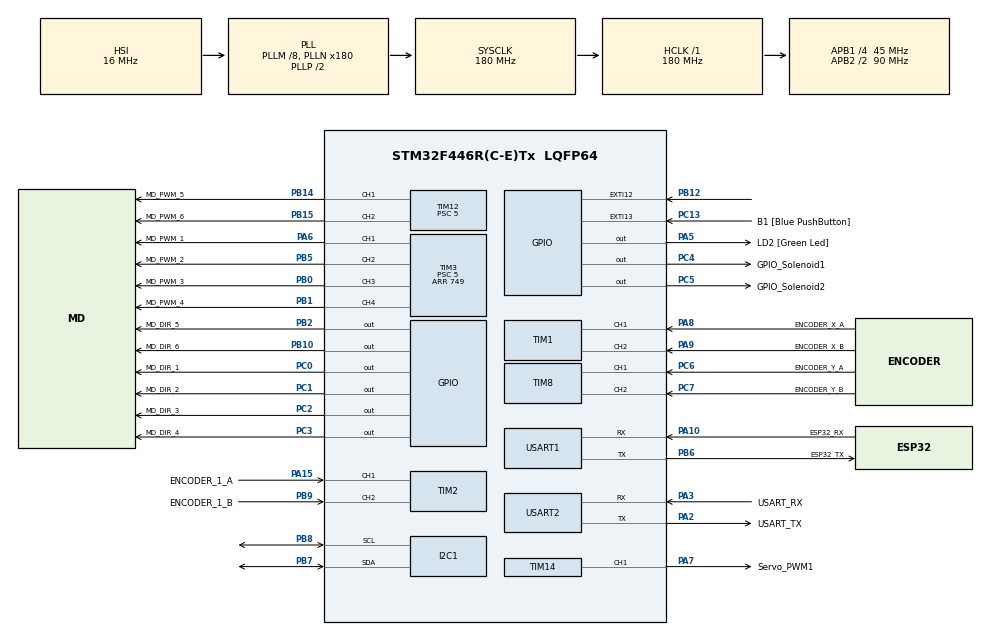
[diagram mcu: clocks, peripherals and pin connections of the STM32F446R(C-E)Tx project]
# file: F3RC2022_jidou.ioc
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I2C1.I2C_Mode=I2C_Fast
Mcu.Family=STM32F4
Mcu.Name=STM32F446R(C-E)Tx
Mcu.Package=LQFP64
NVIC.PriorityGroup=NVIC_PRIORITYGROUP_0
NVIC.USART1_IRQn=true\:0\:0\:false\:false\:true\:true\:true
NVIC.USART2_IRQn=true\:0\:0\:false\:false\:true\:true\:true
PA10.GPIO_Label=ESP32_RX
PA10.Mode=Asynchronous
PA10.Signal=USART1_RX
PA13.GPIO_Label=TMS
PA13.Mode=Serial_Wire
PA13.Signal=SYS_JTMS-SWDIO
PA14.GPIO_Label=TCK
PA14.Mode=Serial_Wire
PA14.Signal=SYS_JTCK-SWCLK
PA15.GPIO_Label=ENCODER_1_A
PA15.Signal=S_TIM2_CH1_ETR
PA2.GPIO_Label=USART_TX
PA2.Mode=Asynchronous
PA2.Signal=USART2_TX
PA3.GPIO_Label=USART_RX
PA3.Mode=Asynchronous
PA3.Signal=USART2_RX
PA5.GPIO_Label=LD2 [Green Led]
PA5.Signal=GPIO_Output
PA6.GPIO_Label=MD_PWM_1
PA6.Signal=S_TIM3_CH1
PA7.GPIO_Label=Servo_PWM1
PA7.Signal=S_TIM14_CH1
PA8.GPIO_Label=ENCODER_X_A
PA8.Signal=S_TIM1_CH1
PA9.GPIO_Label=ENCODER_X_B
PA9.Signal=S_TIM1_CH2
PB0.GPIO_Label=MD_PWM_3
PB0.Signal=S_TIM3_CH3
PB1.GPIO_Label=MD_PWM_4
PB1.Signal=S_TIM3_CH4
PB10.GPIO_Label=MD_DIR_6
PB10.Signal=GPIO_Output
PB12.Signal=GPXTI12
PB14.GPIO_Label=MD_PWM_5
PB14.Signal=S_TIM12_CH1
PB15.GPIO_Label=MD_PWM_6
PB15.Signal=S_TIM12_CH2
PB2.GPIO_Label=MD_DIR_5
PB2.Signal=GPIO_Output
PB3.GPIO_Label=SWO
PB3.Signal=SYS_JTDO-SWO
PB5.GPIO_Label=MD_PWM_2
PB5.Signal=S_TIM3_CH2
PB6.GPIO_Label=ESP32_TX
PB6.Mode=Asynchronous
PB6.Signal=USART1_TX
PB7.Mode=I2C
PB7.Signal=I2C1_SDA
PB8.Mode=I2C
PB8.Signal=I2C1_SCL
PB9.GPIO_Label=ENCODER_1_B
PB9.Signal=S_TIM2_CH2
PC0.GPIO_Label=MD_DIR_1
PC0.Signal=GPIO_Output
PC1.GPIO_Label=MD_DIR_2
PC1.Signal=GPIO_Output
PC13.GPIO_Label=B1 [Blue PushButton]
PC13.GPIO_ModeDefaultEXTI=GPIO_MODE_IT_FALLING
PC13.Signal=GPXTI13
PC14-OSC32_IN.Mode=LSE-External-Oscillator
PC14-OSC32_IN.Signal=RCC_OSC32_IN
PC15-OSC32_OUT.Mode=LSE-External-Oscillator
PC15-OSC32_OUT.Signal=RCC_OSC32_OUT
PC2.GPIO_Label=MD_DIR_3
PC2.Signal=GPIO_Output
PC3.GPIO_Label=MD_DIR_4
PC3.Signal=GPIO_Output
PC4.GPIO_Label=GPIO_Solenoid1
PC4.Signal=GPIO_Output
PC5.GPIO_Label=GPIO_Solenoid2
PC5.Signal=GPIO_Output
PC6.GPIO_Label=ENCODER_Y_A
PC6.Signal=S_TIM8_CH1
PC7.GPIO_Label=ENCODER_Y_B
PC7.Signal=S_TIM8_CH2
PH0-OSC_IN.Mode=HSE-External-Oscillator
PH0-OSC_IN.Signal=RCC_OSC_IN
PH1-OSC_OUT.Mode=HSE-External-Oscillator
PH1-OSC_OUT.Signal=RCC_OSC_OUT
ProjectManager.HeapSize=0x200
ProjectManager.StackSize=0x400
ProjectManager.TargetToolchain=STM32CubeIDE
RCC.48MHZClocksFreq_Value=84000000
RCC.AHBFreq_Value=180000000
RCC.APB1CLKDivider=RCC_HCLK_DIV4
RCC.APB1Freq_Value=45000000
RCC.APB1TimFreq_Value=90000000
RCC.APB2CLKDivider=RCC_HCLK_DIV2
RCC.APB2Freq_Value=90000000
RCC.APB2TimFreq_Value=180000000
RCC.CortexFreq_Value=180000000
RCC.FLatency-AdvancedSettings=FLASH_LATENCY_5
RCC.HCLKFreq_Value=180000000
RCC.HSE_VALUE=8000000
RCC.HSI_VALUE=16000000
RCC.PLLM=8
RCC.PLLN=180
RCC.SYSCLKFreq_VALUE=180000000
RCC.SYSCLKSource=RCC_SYSCLKSOURCE_PLLCLK
RCC.USBFreq_Value=180000000
RCC.VCOOutputFreq_Value=360000000
SH.S_TIM12_CH1.0=TIM12_CH1,PWM Generation1 CH1
SH.S_TIM12_CH2.0=TIM12_CH2,PWM Generation2 CH2
SH.S_TIM14_CH1.0=TIM14_CH1,PWM Generation1 CH1
SH.S_TIM1_CH1.0=TIM1_CH1,Encoder_Interface
SH.S_TIM1_CH2.0=TIM1_CH2,Encoder_Interface
SH.S_TIM2_CH1_ETR.0=TIM2_CH1,Encoder_Interface
SH.S_TIM2_CH2.0=TIM2_CH2,Encoder_Interface
SH.S_TIM3_CH1.0=TIM3_CH1,PWM Generation1 CH1
SH.S_TIM3_CH2.0=TIM3_CH2,PWM Generation2 CH2
SH.S_TIM3_CH3.0=TIM3_CH3,PWM Generation3 CH3
SH.S_TIM3_CH4.0=TIM3_CH4,PWM Generation4 CH4
SH.S_TIM8_CH1.0=TIM8_CH1,Encoder_Interface
SH.S_TIM8_CH2.0=TIM8_CH2,Encoder_Interface
TIM1.EncoderMode=TIM_ENCODERMODE_TI12
TIM12.Channel-PWM\ Generation1\ CH1=TIM_CHANNEL_1
TIM12.Channel-PWM\ Generation2\ CH2=TIM_CHANNEL_2
TIM12.Period=749
TIM12.Prescaler=5
TIM14.Channel=TIM_CHANNEL_1
TIM14.Period=59999
TIM14.Prescaler=29
TIM2.EncoderMode=TIM_ENCODERMODE_TI12
TIM3.Channel-PWM\ Generation1\ CH1=TIM_CHANNEL_1
TIM3.Channel-PWM\ Generation2\ CH2=TIM_CHANNEL_2
TIM3.Channel-PWM\ Generation3\ CH3=TIM_CHANNEL_3
TIM3.Channel-PWM\ Generation4\ CH4=TIM_CHANNEL_4
TIM3.CounterMode=TIM_COUNTERMODE_UP
TIM3.Period=749
TIM3.Prescaler=5
TIM8.EncoderMode=TIM_ENCODERMODE_TI12
USART1.VirtualMode=VM_ASYNC
USART2.VirtualMode=VM_ASYNC
VP_TIM12_VS_ClockSourceINT.Mode=Internal
VP_TIM14_VS_ClockSourceINT.Mode=Enable_Timer
VP_TIM3_VS_ClockSourceINT.Mode=Internal
board=NUCLEO-F446RE

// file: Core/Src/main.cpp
/* USER CODE BEGIN Header */
/**
  ******************************************************************************
  * @file           : main.c
  * @brief          : Main program body
  ******************************************************************************
  * @attention
  *
  * Copyright (c) 2022 STMicroelectronics.
  * All rights reserved.
  *
  * This software is licensed under terms that can be found in the LICENSE file
  * in the root directory of this software component.
  * If no LICENSE file comes with this software, it is provided AS-IS.
  *
  ******************************************************************************
  */
/* USER CODE END Header */
#include "main.h"
#include "i2c.h"
#include "tim.h"
#include "usart.h"
#include "gpio.h"

/* USER CODE BEGIN Includes */
#include "F3rcLibrary/F3rcLibrary.h"
#include "F3rcLibrary/Controller.h"
#include "Robot.h"
#include "F3rcLibrary/BNO055_9DOF.h"
/* USER CODE END Includes */

/* USER CODE BEGIN PV */
F3rcLibrary f3rc;
volatile bool flag = false;
Robot robot(&f3rc,0.05f);
/* USER CODE END PV */

void SystemClock_Config(void);

int main(void)
{

  /* MCU Configuration--------------------------------------------------------*/

  /* Reset of all peripherals, Initializes the Flash interface and the Systick. */
  HAL_Init();

  /* Configure the system clock */
  SystemClock_Config();

  /* Initialize all configured peripherals */
  MX_GPIO_Init();
  MX_USART2_UART_Init();
  MX_TIM1_Init();
  MX_TIM2_Init();
  MX_TIM3_Init();
  MX_TIM8_Init();
  MX_TIM12_Init();
  MX_USART1_UART_Init();
  MX_TIM14_Init();
  MX_I2C1_Init();
  /* USER CODE BEGIN 2 */
  f3rc.Start();
//  while(1){
//	  if(f3rc.Sensor0.GetValue()==true){
//		  break;
//	  }
//  }

  /* USER CODE END 2 */

  /* Infinite loop */
  /* USER CODE BEGIN WHILE */
  while (1)
  {
  	if(flag){
  		robot.stop(0, 0, 0);

//  		if(f3rc.PS3.GetButton(Controller::Circle)){
//  			f3rc.Servo1.SetAngle(-90);
//  		}else if(f3rc.PS3.GetButton(Controller::Cross)){
//  			f3rc.Servo1.SetAngle(90);
//  		}
//  		f3rc.M3.SetDuty(20);
//  		float t=0;
//  		if(t<=1){
//  			robot.move1(0, 0, 1, 1, t);
//  			t=t+0.05;
//  		}
  		flag = false;
  	}

    /* USER CODE END WHILE */

  }
}

void SystemClock_Config(void)
{
  RCC_OscInitTypeDef RCC_OscInitStruct = {0};
  RCC_ClkInitTypeDef RCC_ClkInitStruct = {0};

  /** Configure the main internal regulator output voltage
  */
  __HAL_RCC_PWR_CLK_ENABLE();
  __HAL_PWR_VOLTAGESCALING_CONFIG(PWR_REGULATOR_VOLTAGE_SCALE1);
  /** Initializes the RCC Oscillators according to the specified parameters
  * in the RCC_OscInitTypeDef structure.
  */
  RCC_OscInitStruct.OscillatorType = RCC_OSCILLATORTYPE_HSI;
  RCC_OscInitStruct.HSIState = RCC_HSI_ON;
  RCC_OscInitStruct.HSICalibrationValue = RCC_HSICALIBRATION_DEFAULT;
  RCC_OscInitStruct.PLL.PLLState = RCC_PLL_ON;
  RCC_OscInitStruct.PLL.PLLSource = RCC_PLLSOURCE_HSI;
  RCC_OscInitStruct.PLL.PLLM = 8;
  RCC_OscInitStruct.PLL.PLLN = 180;
  RCC_OscInitStruct.PLL.PLLP = RCC_PLLP_DIV2;
  RCC_OscInitStruct.PLL.PLLQ = 2;
  RCC_OscInitStruct.PLL.PLLR = 2;
  if (HAL_RCC_OscConfig(&RCC_OscInitStruct) != HAL_OK)
  {
    Error_Handler();
  }
  /** Activate the Over-Drive mode
  */
  if (HAL_PWREx_EnableOverDrive() != HAL_OK)
  {
    Error_Handler();
  }
  /** Initializes the CPU, AHB and APB buses clocks
  */
  RCC_ClkInitStruct.ClockType = RCC_CLOCKTYPE_HCLK|RCC_CLOCKTYPE_SYSCLK
                              |RCC_CLOCKTYPE_PCLK1|RCC_CLOCKTYPE_PCLK2;
  RCC_ClkInitStruct.SYSCLKSource = RCC_SYSCLKSOURCE_PLLCLK;
  RCC_ClkInitStruct.AHBCLKDivider = RCC_SYSCLK_DIV1;
  RCC_ClkInitStruct.APB1CLKDivider = RCC_HCLK_DIV4;
  RCC_ClkInitStruct.APB2CLKDivider = RCC_HCLK_DIV2;

  if (HAL_RCC_ClockConfig(&RCC_ClkInitStruct, FLASH_LATENCY_5) != HAL_OK)
  {
    Error_Handler();
  }
}

/* USER CODE BEGIN 4 */

void HAL_UART_RxCpltCallback(UART_HandleTypeDef *huart){
	if(!(Controller::init_flag)){
		if(Controller::init_msg == (uint8_t)'A'){
			Controller::init_flag = true;
			return;
		}else{
			HAL_UART_Receive_IT(&huart1, &Controller::init_msg, 1);
			return;
		}
	}

	for(int i = 0; i < 7; i++){
		HAL_UART_Receive(&huart1, &Controller::RxData[i + 1], 1, 1);
	}
	f3rc.PS3.Update(Controller::RxData);
	HAL_GPIO_TogglePin(GPIOA, GPIO_PIN_5);

	uint8_t msg = (uint8_t)'s';
	HAL_UART_Transmit(&huart1, &msg, 1, 1);
	HAL_UART_Receive_IT(&huart1, &Controller::RxData[0], 1);
}

// Interrupt by SysTick(1ms)
// 制御周??��?��? 5ms
void IntSysTick(){
	static int cnt_systick = 0;
	cnt_systick++;
	switch(cnt_systick){
	case 1:
#ifdef LOCALIZATION_ENABLE
		f3rc.Loca.Update();
#endif
		break;
	case 2:
		break;
	case 3:
		break;
	case 4:
		break;
	case 5:
		flag = true;
		cnt_systick = 0;
		break;
	}
}

/* USER CODE END 4 */

void Error_Handler(void)
{
  __disable_irq();
  while (1)
  {
  }
}
